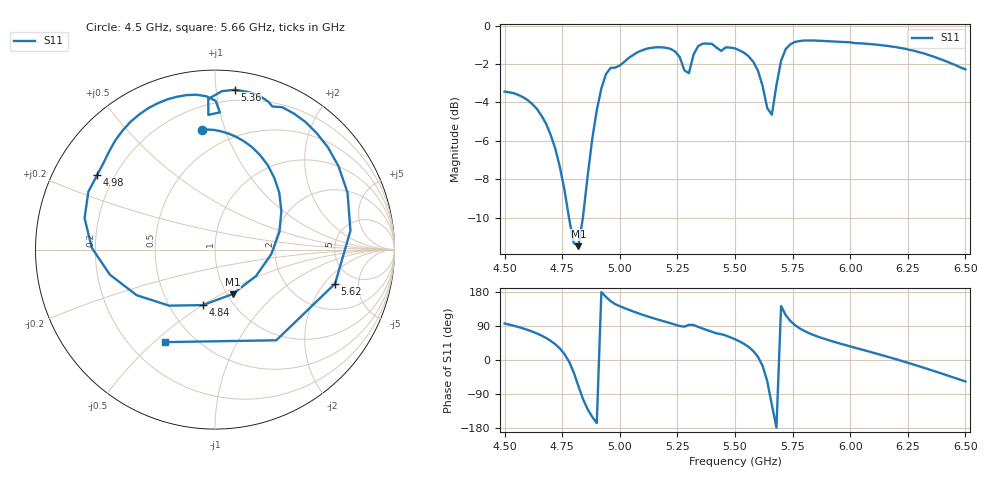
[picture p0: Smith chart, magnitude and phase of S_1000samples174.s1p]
! TOUCHSTONE file generated by CST MICROWAVE STUDIO
! Date and time: Thu Oct 27 06:15:45 2022
! Project name: L.cst
! Parameters = {Di=1.27; Epsilon_r=1.56; InnerDiameter=1.27; Length=2; Lf=10; Lg=60; OuterConductorThickness=0.2921; OuterDiameter=3.6; Wf=3; Wp=41.2; de=1.5; df=6.8; g=0.8; gx=0.714881; gy=1.07072; h=2.34; hf=1.524; px=14.5303; py=9.76956; w=9.7; wx=13.8154; wy=8.69884}
! Header version: 2018
! Port assignment regex: !\s*Touchstone port\s*([0-9]+)\s*=\s*(CST MWS port|CST DS port)\s*([0-9]+|Zmin|Zmax)\s*\(\"(.*)\"\)(\s*mode\s*([0-9]+))?.*
! Touchstone port assignment:
! Touchstone port 1 = CST MWS port 1 ("")
# GHz S DB R 50
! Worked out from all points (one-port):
!   101 points, 4.5 GHz to 6.5 GHz, reference 50 ohm
!   lowest |S11| = -11.5 dB at 4.82 GHz (marker M1), VSWR 1.73, Z = 53.1 - j28.3 ohm
!   |S11| at or under -10 dB: 4.779 GHz to 4.84 GHz (60.27 MHz wide, 1.25 % of centre)
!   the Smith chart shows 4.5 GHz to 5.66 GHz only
!   S11 on the Smith chart (normalised r, x): 4.5 GHz: 0.34, +0.84; 4.84 GHz: 0.73, -0.50; 4.98 GHz: 0.14, +0.29; 5.36 GHz: 0.12, +1.12; 5.62 GHz: 3.55, -2.61; 5.66 GHz: 0.35, -0.54
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4.5  -3.44 96.3
4.64  -4.33 70.1
4.76  -8.57 15.5
4.82  -11.48 -68.5
4.84  -9.98 -102.6
4.88  -5.93 -149.8
4.92  -3.27 179.2
4.98  -2.19 147.4
5  -2.08 142.0
5.12  -1.20 115.2
5.26  -1.64 89.7
5.3  -2.48 92.8
5.32  -1.51 92.6
5.36  -0.94 82.9
5.5  -1.19 54.7
5.58  -1.90 23.2
5.62  -3.15 -15.8
5.64  -4.29 -55.9
5.66  -4.64 -118.4
5.68  -3.10 -178.7
5.7  -1.83 142.4
5.72  -1.22 118.7
5.76  -0.85 92.1
5.84  -0.78 66.1
6  -0.87 35.8
6.14  -1.03 12.4
6.26  -1.27 -9.1
6.5  -2.28 -56.6
